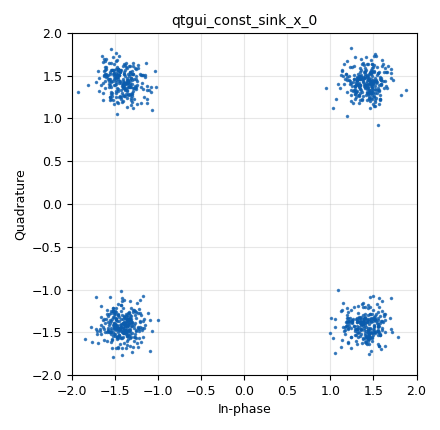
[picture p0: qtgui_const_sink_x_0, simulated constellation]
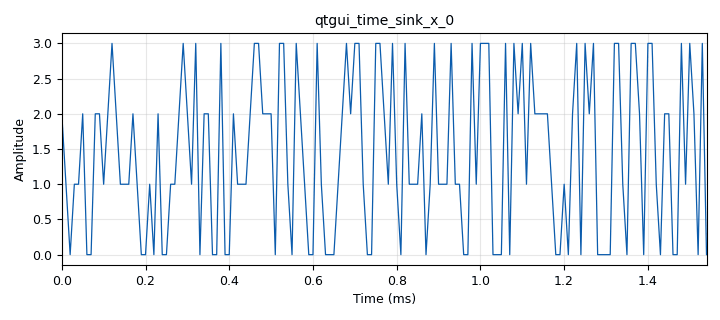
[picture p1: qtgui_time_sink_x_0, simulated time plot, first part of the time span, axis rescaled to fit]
options:
  parameters:
    generate_options: qt_gui
    id: ber
    output_language: python
    title: Not titled yet
  states: {}

blocks:
- name: EbN0
  id: variable_qtgui_range
  parameters:
    label: Energy Bit / Noise Power
    orient: Qt.Horizontal
    start: '-200'
    step: '1'
    stop: '200'
    value: '8'
  states: {}
- name: const
  id: variable
  parameters:
    value: (digital.constellation_bpsk(), digital.constellation_qpsk(), digital.constellation_8psk())
  states: {}
- name: const_type
  id: variable
  parameters:
    value: '1'
  states: {}
- name: samp_rate
  id: variable
  parameters:
    value: 10e4
  states: {}
- name: variable_constellation_0
  id: variable_constellation
  parameters:
    precision: '8'
    type: 8psk
  states: {}
- name: analog_noise_source_x_0
  id: analog_noise_source_x
  parameters:
    amp: 1.0/ math.sqrt(2.0 *const[const_type].bits_per_symbol() * 10**(EbN0/10))
    noise_type: analog.GR_GAUSSIAN
    seed: '42'
    type: complex
  states: {}
- name: analog_random_source_x_0
  id: analog_random_source_x
  parameters:
    max: const[const_type].arity()
    min: '0'
    num_samps: int(10e6)
    repeat: 'False'
    type: byte
  states: {}
- name: blocks_add_xx_0
  id: blocks_add_xx
  parameters:
    type: complex
  states: {}
- name: blocks_throttle_0
  id: blocks_throttle
  parameters:
    samples_per_second: samp_rate
    type: byte
  states: {}
- name: blocks_uchar_to_float_0
  id: blocks_uchar_to_float
  parameters: {}
  states: {}
- name: digital_chunks_to_symbols_xx_0
  id: digital_chunks_to_symbols_xx
  parameters:
    dimension: '1'
    in_type: byte
    out_type: complex
    symbol_table: const[const_type].points()
  states: {}
- name: digital_constellation_decoder_cb_0
  id: digital_constellation_decoder_cb
  parameters:
    constellation: const[const_type].base()
  states: {}
- name: fec_ber_bf_0
  id: fec_ber_bf
  parameters:
    berminerrors: '10'
    test_mode: 'False'
  states: {}
- name: import_0
  id: import
  parameters:
    imports: import math
  states: {}
- name: qtgui_const_sink_x_0
  id: qtgui_const_sink_x
  parameters:
    grid: 'True'
    size: '1024'
    type: complex
  states: {}
- name: qtgui_number_sink_0
  id: qtgui_number_sink
  parameters:
    graph_type: qtgui.NUM_GRAPH_HORIZ
    type: float
  states: {}
- name: qtgui_time_sink_x_0
  id: qtgui_time_sink_x
  parameters:
    size: '1024'
    srate: samp_rate
    type: float
  states: {}
- name: virtual_sink_0
  id: virtual_sink
  parameters:
    stream_id: channel
  states: {}
- name: virtual_source_0
  id: virtual_source
  parameters:
    stream_id: channel
  states: {}

connections:
- [analog_noise_source_x_0, '0', blocks_add_xx_0, '1']
- [analog_random_source_x_0, '0', blocks_throttle_0, '0']
- [analog_random_source_x_0, '0', blocks_uchar_to_float_0, '0']
- [analog_random_source_x_0, '0', digital_chunks_to_symbols_xx_0, '0']
- [blocks_add_xx_0, '0', qtgui_const_sink_x_0, '0']
- [blocks_add_xx_0, '0', virtual_sink_0, '0']
- [blocks_throttle_0, '0', fec_ber_bf_0, '0']
- [blocks_uchar_to_float_0, '0', qtgui_time_sink_x_0, '0']
- [digital_chunks_to_symbols_xx_0, '0', blocks_add_xx_0, '0']
- [digital_constellation_decoder_cb_0, '0', fec_ber_bf_0, '1']
- [fec_ber_bf_0, '0', qtgui_number_sink_0, '0']
- [virtual_source_0, '0', digital_constellation_decoder_cb_0, '0']

metadata:
  file_format: 1
